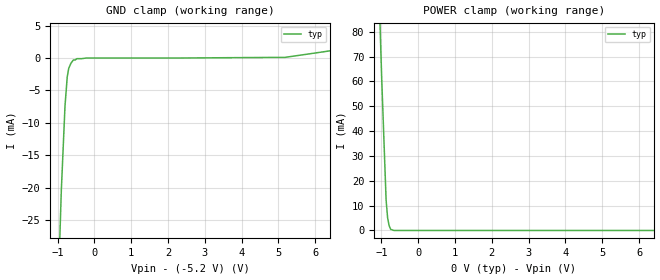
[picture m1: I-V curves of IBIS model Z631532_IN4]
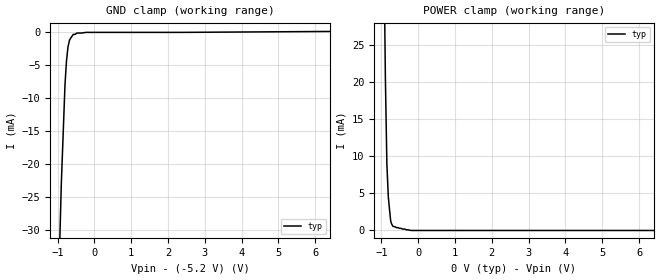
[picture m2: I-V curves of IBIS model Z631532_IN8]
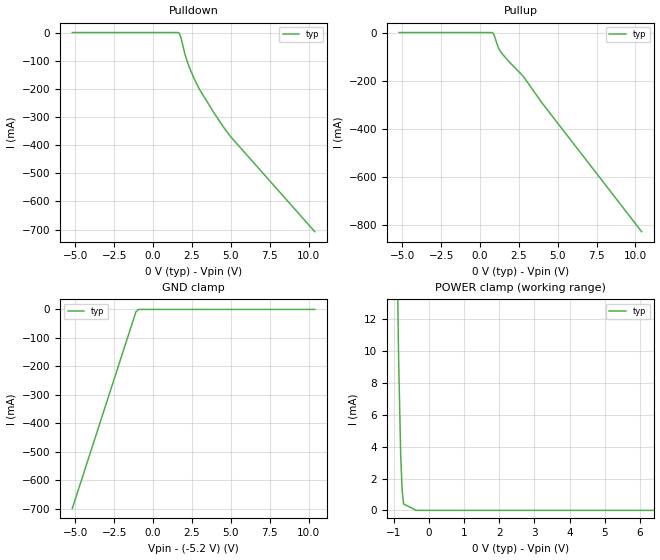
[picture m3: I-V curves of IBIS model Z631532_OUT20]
| YOU ARE ONLY AUTHORIZED TO USE THIS SOFTWARE
| ACCORDING TO LICENSOR'S LICENSE RESTRICTIONS.
[IBIS Ver] 3.1
[File Name] mc100lve222fa_-52.ibs
[File Rev] 2.0
[Source] Measured and created by ICX Technology
[Date] Wednesday 11/22/00 2:13:51 PM
[Copyright]
| (C) COPYRIGHT 1993-2000
| MENTOR GRAPHICS CORPORATION
| ICX STANDARD LIBRARY, ICX PROJECT MODELING,
| ICX CUSTOM MODELING, ICX VENDOR MODEL
| ALL RIGHTS RESERVED.
| THE FOLLOWING ARE TRADEMARKS OR SERVICE MARKS OF
| MENTOR GRAPHICS CORPORATION:ICX (R), ICX STANDARD
| LIBRARY(R), ICX PROJECT MODELING(R), ICX CUSTOM
| MODELING(R), qualityIBIS(TM), MODELVIEWER(TM),
| AND MODELEDITOR(TM)
| ALL COPIES OF SOFTWARE, INCLUDING BUT NOT LIMITED TO
| ANY MODIFICATIONS, ENHANCEMENTS OR DERIVATIVE WORKS,
| MUST CONTAIN ALL MENTOR GRAPHICS CORPORATION'S
| NOTICES AND LEGENDS, INCLUDING THOSE EMBEDDED IN
| SOFTWARE AND THOSE AFFIXED TO SOFTWARE MEDIUM
| AND CONTAINER, AS RECEIVED FROM MENTOR GRAPHICS
| CORPORATION.
|  ZAP Model Builder 2.8
[Component] MC100LVE222FA_-52
[Manufacturer] OnSemiconductor
[Package]
| variable   typ   min   max
R_pkg  .179ohms NA NA
L_pkg  4.118nH NA NA
C_pkg  .592pF NA NA
[Pin] signal_name  model_name  R_pin  L_pin C_pin
1 VCC POWER .185 4.54n .65p
2 MR Z631532_IN4 .181 4.27n .62p
3 FSELA Z631532_IN4 .18 4.17n .6p
4 FSELB Z631532_IN4 .178 4.04n .58p
5 CLK0 Z631532_IN8 .176 3.92n .56p
6 _CLK0 Z631532_IN8 .176 3.89n .56p
7 CLK_SEL Z631532_IN4 .175 3.88n .55p
8 CLK1 Z631532_IN8 .176 3.89n .56p
9 _CLK1 Z631532_IN8 .176 3.92n .56p
10 VBB POWER .178 4.04n .58p
11 FSELC Z631532_IN4 .18 4.17n .6p
12 FSELD Z631532_IN4 .181 4.27n .62p
13 VEE POWER .185 4.54n .65p
14 VCCO POWER .185 4.54n .65p
15 _QD5 Z631532_OUT45 .181 4.27n .62p
16 QD5 Z631532_OUT20 .18 4.17n .6p
17 _QD4 Z631532_OUT45 .178 4.04n .58p
18 QD4 Z631532_OUT20 .176 3.92n .56p
19 _QD3 Z631532_OUT45 .176 3.89n .56p
20 QD3 Z631532_OUT20 .175 3.88n .55p
21 _QD2 Z631532_OUT45 .176 3.89n .56p
22 QD2 Z631532_OUT20 .176 3.92n .56p
23 _QD1 Z631532_OUT45 .178 4.04n .58p
24 QD1 Z631532_OUT20 .18 4.17n .6p
25 _QD0 Z631532_OUT45 .181 4.27n .62p
26 QD0 Z631532_OUT20 .185 4.54n .65p
27 VCCO POWER .185 4.54n .65p
28 NC NC .181 4.27n .62p
29 NC NC .18 4.17n .6p
30 VCCO POWER .178 4.04n .58p
31 _QC3 Z631532_OUT45 .176 3.92n .56p
32 QC3 Z631532_OUT20 .176 3.89n .56p
33 _QC2 Z631532_OUT45 .175 3.88n .55p
34 QC2 Z631532_OUT20 .176 3.89n .56p
35 _QC1 Z631532_OUT45 .176 3.92n .56p
36 QC1 Z631532_OUT20 .178 4.04n .58p
37 _QC0 Z631532_OUT45 .18 4.17n .6p
38 QC0 Z631532_OUT20 .181 4.27n .62p
39 VCCO POWER .185 4.54n .65p
40 VCCO POWER .185 4.54n .65p
41 _QB2 Z631532_OUT45 .181 4.27n .62p
42 QB2 Z631532_OUT20 .18 4.17n .6p
43 _QB1 Z631532_OUT45 .178 4.04n .58p
44 QB1 Z631532_OUT20 .176 3.92n .56p
45 _QB0 Z631532_OUT45 .176 3.89n .56p
46 QB0 Z631532_OUT20 .175 3.88n .55p
47 VCCO POWER .176 3.89n .56p
48 _QA1 Z631532_OUT45 .176 3.92n .56p
49 QA1 Z631532_OUT20 .178 4.04n .58p
50 _QA0 Z631532_OUT45 .18 4.17n .6p
51 QA0 Z631532_OUT20 .181 4.27n .62p
52 VCCO POWER .185 4.54n .65p
[Diff Pin] inv_pin vdiff tdelay_typ tdelay_min tdelay_max
16 15 NA NA NA NA
18 17 NA NA NA NA
20 19 NA NA NA NA
22 21 NA NA NA NA
24 23 NA NA NA NA
26 25 NA NA NA NA
32 31 NA NA NA NA
34 33 NA NA NA NA
36 35 NA NA NA NA
38 37 NA NA NA NA
42 41 NA NA NA NA
44 43 NA NA NA NA
46 45 NA NA NA NA
49 48 NA NA NA NA
5 6 NA NA NA NA
51 50 NA NA NA NA
8 9 NA NA NA NA
| Models and submodels in the file (4): Z631532_IN4 (Input_ECL), Z631532_IN8 (Input_ECL), Z631532_OUT20 (Output_ECL), Z631532_OUT45 (Output_ECL)
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| (C) COPYRIGHT 1993-2000
| MENTOR GRAPHICS CORPORATION
| ICX STANDARD LIBRARY, ICX PROJECT MODELING,
| ICX CUSTOM MODELING, ICX VENDOR MODEL
| ALL RIGHTS RESERVED.
| THE FOLLOWING ARE TRADEMARKS OR SERVICE MARKS OF
| MENTOR GRAPHICS CORPORATION:ICX (R), ICX STANDARD
| LIBRARY(R), ICX PROJECT MODELING(R), ICX CUSTOM
| MODELING(R), qualityIBIS(TM), MODELVIEWER(TM),
| AND MODELEDITOR(TM)
| ALL COPIES OF SOFTWARE, INCLUDING BUT NOT LIMITED TO
| ANY MODIFICATIONS, ENHANCEMENTS OR DERIVATIVE WORKS,
| MUST CONTAIN ALL MENTOR GRAPHICS CORPORATION'S
| NOTICES AND LEGENDS, INCLUDING THOSE EMBEDDED IN
| SOFTWARE AND THOSE AFFIXED TO SOFTWARE MEDIUM
| AND CONTAINER, AS RECEIVED FROM MENTOR GRAPHICS
| CORPORATION.
| Model Application Version 1.89 2/18/99.
[Model] Z631532_IN4
Model_type Input_ECL
Vinl = -1.475V
Vinh = -1.165V
C_comp 3.000pF NA NA
| variable typ   min   max
[Voltage Range] -5.200V NA NA
[GND Clamp Reference] -5.200V NA NA
[POWER Clamp Reference] 0.000V NA NA
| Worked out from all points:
|   GND clamp passes 1 mA (typ) near -0.65 V on its own axis
|   POWER clamp passes 1 mA (typ) near -0.76 V on its own axis
[GND Clamp]
-5.2V     -800.3mA   NA         NA
-901mV    -20.6mA    NA         NA
-800mV    -7.4mA     NA         NA
-739mV    -2.9mA     NA         NA
-699mV    -1.6mA     NA         NA
-638mV    -800uA     NA         NA
-572mV    -300uA     NA         NA
-523.9mV  -300uA     NA         NA
-475.8mV  -100uA     NA         NA
5.179V    100uA      NA         NA
10.4V     4.397mA    NA         NA
[POWER Clamp]
-5.2V     2.079A     NA         NA
-993mV    61.87mA    NA         NA
-872mV    12.27mA    NA         NA
-831mV    5.099mA    NA         NA
-791mV    2.032mA    NA         NA
-750mV    465.8uA    NA         NA
-656.3mV  0A         NA         NA
10.4V     0A         NA         NA
| (C) COPYRIGHT 1993-2000
| MENTOR GRAPHICS CORPORATION
| ICX STANDARD LIBRARY, ICX PROJECT MODELING,
| ICX CUSTOM MODELING, ICX VENDOR MODEL
| ALL RIGHTS RESERVED.
| THE FOLLOWING ARE TRADEMARKS OR SERVICE MARKS OF
| MENTOR GRAPHICS CORPORATION:ICX (R), ICX STANDARD
| LIBRARY(R), ICX PROJECT MODELING(R), ICX CUSTOM
| MODELING(R), qualityIBIS(TM), MODELVIEWER(TM),
| AND MODELEDITOR(TM)
| ALL COPIES OF SOFTWARE, INCLUDING BUT NOT LIMITED TO
| ANY MODIFICATIONS, ENHANCEMENTS OR DERIVATIVE WORKS,
| MUST CONTAIN ALL MENTOR GRAPHICS CORPORATION'S
| NOTICES AND LEGENDS, INCLUDING THOSE EMBEDDED IN
| SOFTWARE AND THOSE AFFIXED TO SOFTWARE MEDIUM
| AND CONTAINER, AS RECEIVED FROM MENTOR GRAPHICS
| CORPORATION.
| Model Application Version 1.89 2/18/99.
[Model] Z631532_IN8
Model_type Input_ECL
Vinl = -1.475V
Vinh = -1.165V
C_comp 3.000pF NA NA
| variable typ   min   max
[Voltage Range] -5.200V NA NA
[GND Clamp Reference] -5.200V NA NA
[POWER Clamp Reference] 0.000V NA NA
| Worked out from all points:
|   GND clamp passes 1 mA (typ) near -0.66 V on its own axis
|   POWER clamp passes 1 mA (typ) near -0.73 V on its own axis
[GND Clamp]
-5.2V     -925mA     NA         NA
-901mV    -23.1mA    NA         NA
-800mV    -7.9mA     NA         NA
-759mV    -4.3mA     NA         NA
-719mV    -2.2mA     NA         NA
-678mV    -1.2mA     NA         NA
-572mV    -300uA     NA         NA
-523.9mV  -300uA     NA         NA
-475.8mV  -100uA     NA         NA
-222.7mV  0A         NA         NA
10.4V     282.5uA    NA         NA
[POWER Clamp]
-5.2V     1.941A     NA         NA
-892mV    20.77mA    NA         NA
-851mV    8.971mA    NA         NA
-811mV    4.473mA    NA         NA
-750mV    1.375mA    NA         NA
-730mV    975.6uA    NA         NA
-689mV    577uA      NA         NA
-587.5mV  382.1uA    NA         NA
-189.3mV  0A         NA         NA
10.4V     0A         NA         NA
| (C) COPYRIGHT 1993-2000
| MENTOR GRAPHICS CORPORATION
| ICX STANDARD LIBRARY, ICX PROJECT MODELING,
| ICX CUSTOM MODELING, ICX VENDOR MODEL
| ALL RIGHTS RESERVED.
| THE FOLLOWING ARE TRADEMARKS OR SERVICE MARKS OF
| MENTOR GRAPHICS CORPORATION:ICX (R), ICX STANDARD
| LIBRARY(R), ICX PROJECT MODELING(R), ICX CUSTOM
| MODELING(R), qualityIBIS(TM), MODELVIEWER(TM),
| AND MODELEDITOR(TM)
| ALL COPIES OF SOFTWARE, INCLUDING BUT NOT LIMITED TO
| ANY MODIFICATIONS, ENHANCEMENTS OR DERIVATIVE WORKS,
| MUST CONTAIN ALL MENTOR GRAPHICS CORPORATION'S
| NOTICES AND LEGENDS, INCLUDING THOSE EMBEDDED IN
| SOFTWARE AND THOSE AFFIXED TO SOFTWARE MEDIUM
| AND CONTAINER, AS RECEIVED FROM MENTOR GRAPHICS
| CORPORATION.
| Model Application Version 1.89 2/18/99.
[Model] Z631532_OUT20
Model_type Output_ECL
Vref=-2.000V
Rref=50.00ohms
Cref=0.000F
Vmeas=-1.320V
C_comp 8.000pF NA NA
| variable typ   min   max
[Voltage Range] -5.200V NA NA
[POWER Clamp Reference] 0.000V NA NA
[Pullup Reference] 0.000V NA NA
[Pulldown Reference] 0.000V NA NA
[GND Clamp Reference] -5.200V NA NA
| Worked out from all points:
|   GND clamp passes 1 mA (typ) near -0.94 V on its own axis
|   POWER clamp passes 1 mA (typ) near -0.76 V on its own axis
[GND Clamp]
-5.2V     -699.2mA   NA         NA
-1.104V   -8.195mA   NA         NA
-920mV    0A         NA         NA
10.4V     0A         NA         NA
[Pulldown]
-5.2V     0A         NA         NA
1.642V    -600uA     NA         NA
1.703V    -3.8mA     NA         NA
1.784V    -16.8mA    NA         NA
2.047V    -76.5mA    NA         NA
2.209V    -105.5mA   NA         NA
2.655V    -165.4mA   NA         NA
2.98V     -201.4mA   NA         NA
3.953V    -288.6mA   NA         NA
4.419V    -327.1mA   NA         NA
5.027V    -372.4mA   NA         NA
10.4V     -707.3mA   NA         NA
[Pullup]
-5.2V     0A         NA         NA
811mV     -1mA       NA         NA
912mV     -11.3mA    NA         NA
1.176V    -62.3mA    NA         NA
1.358V    -82.6mA    NA         NA
1.905V    -123.8mA   NA         NA
2.797V    -183mA     NA         NA
3.932V    -288.2mA   NA         NA
10.4V     -829.4mA   NA         NA
[POWER Clamp]
-5.2V     1.364A     NA         NA
-1.095V   51.1mA     NA         NA
-1.014V   33mA       NA         NA
-872mV    9.8mA      NA         NA
-811mV    3.5mA      NA         NA
-770mV    1.3mA      NA         NA
-730mV    400uA      NA         NA
-365mV    0A         NA         NA
10.4V     0A         NA         NA
[Ramp]
| variable typ min max
dV/dt_r 452.3m/277.9p NA NA
dV/dt_f 452.3m/264.8p NA NA
R_load = 50.00Ohms
